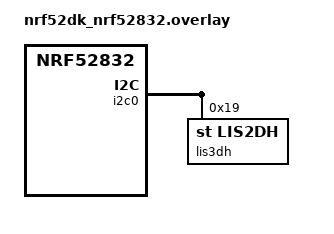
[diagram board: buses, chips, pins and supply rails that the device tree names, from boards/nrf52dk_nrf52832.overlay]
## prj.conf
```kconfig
#
# Copyright (c) 2018 Nordic Semiconductor
#
# SPDX-License-Identifier: LicenseRef-Nordic-5-Clause
#

# Enable the UART driver
CONFIG_UART_ASYNC_API=y
CONFIG_NRFX_UARTE=y
CONFIG_SERIAL=y

CONFIG_GPIO=y

# Make sure printk is printing to the UART console
CONFIG_CONSOLE=y
CONFIG_UART_CONSOLE=y

CONFIG_HEAP_MEM_POOL_SIZE=2048

CONFIG_BT=y
CONFIG_BT_PERIPHERAL=y
CONFIG_BT_DEVICE_NAME="Nordic_UART_Lihua"
CONFIG_BT_MAX_CONN=1
CONFIG_BT_MAX_PAIRED=1

# Enable the NUS service
CONFIG_BT_NUS=y

# Enable bonding
CONFIG_BT_SETTINGS=y
CONFIG_FLASH=y
CONFIG_FLASH_PAGE_LAYOUT=y
CONFIG_FLASH_MAP=y

# Enable DK LED and Buttons library
CONFIG_DK_LIBRARY=y

CONFIG_SYSTEM_WORKQUEUE_STACK_SIZE=2048
# Config logger
CONFIG_LOG=y
CONFIG_USE_SEGGER_RTT=y
CONFIG_LOG_BACKEND_RTT=y
CONFIG_LOG_BACKEND_UART=n
CONFIG_LOG_PRINTK=n

CONFIG_ASSERT=y

#Enable I2C and LIS2DH sensor
CONFIG_I2C=y
CONFIG_SENSOR=y
CONFIG_LIS2DH=y
#CONFIG_LIS2DH_ODR_1=y
CONFIG_LIS2DH_ODR_RUNTIME=y

# Time resolution set to 1ms
CONFIG_SYS_CLOCK_TICKS_PER_SEC=1000

# get 247-byte MTU (244 bytes usable payload)
CONFIG_BT_L2CAP_TX_MTU=247
CONFIG_BT_BUF_ACL_RX_SIZE=251
CONFIG_BT_BUF_ACL_TX_SIZE=251
CONFIG_BT_CTLR_DATA_LENGTH_MAX=251

# DLE (Data Length Extension) for nRF52832
CONFIG_BT_CTLR_DATA_LENGTH_MAX=251
```

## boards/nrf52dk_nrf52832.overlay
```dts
&i2c0 {
    status = "okay";
    pinctrl-0 = <&i2c0_default>;
    pinctrl-1 = <&i2c0_sleep>;
    pinctrl-names = "default", "sleep";

    lis3dh: lis3dh@19 {
        compatible = "st,lis2dh";
        reg = <0x19>;
        status = "okay";
    };
};

&i2c0_default {
    group1 {
        psels = <NRF_PSEL(TWIM_SDA, 0, 27)>,
                <NRF_PSEL(TWIM_SCL, 0, 26)>;
    };
};

&i2c0_sleep {
    group1 {
        psels = <NRF_PSEL(TWIM_SDA, 0, 27)>,
                <NRF_PSEL(TWIM_SCL, 0, 26)>;
        low-power-enable;
    };
};
```

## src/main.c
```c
/*
 * Copyright (c) 2018 Nordic Semiconductor ASA
 * SPDX-License-Identifier: LicenseRef-Nordic-5-Clause
 */

#include <uart_async_adapter.h>

#include <zephyr/types.h>
#include <zephyr/kernel.h>
#include <zephyr/drivers/uart.h>
#include <zephyr/drivers/i2c.h>
#include <zephyr/device.h>
#include <zephyr/devicetree.h>
#include <soc.h>

#include <zephyr/bluetooth/bluetooth.h>
#include <zephyr/bluetooth/uuid.h>
#include <zephyr/bluetooth/gatt.h>
#include <zephyr/bluetooth/hci.h>

#include <bluetooth/services/nus.h>
#include <dk_buttons_and_leds.h>
#include <zephyr/settings/settings.h>

#include <stdio.h>
#include <string.h>
#include <stdlib.h>

#include <zephyr/logging/log.h>

/* LIS3DH via Zephyr sensor API */
#include <zephyr/drivers/sensor.h>

#define LOG_MODULE_NAME peripheral_uart
LOG_MODULE_REGISTER(LOG_MODULE_NAME);

#define STACKSIZE CONFIG_BT_NUS_THREAD_STACK_SIZE
#define PRIORITY 7

#define DEVICE_NAME CONFIG_BT_DEVICE_NAME
#define DEVICE_NAME_LEN (sizeof(DEVICE_NAME) - 1)

#define RUN_STATUS_LED DK_LED1
#define RUN_LED_BLINK_INTERVAL 1000
#define CON_STATUS_LED DK_LED2

#define KEY_PASSKEY_ACCEPT DK_BTN1_MSK
#define KEY_PASSKEY_REJECT DK_BTN2_MSK

#define UART_BUF_SIZE CONFIG_BT_NUS_UART_BUFFER_SIZE
#define UART_WAIT_FOR_BUF_DELAY K_MSEC(50)
#define UART_WAIT_FOR_RX CONFIG_BT_NUS_UART_RX_WAIT_TIME

#define ACCEL_SAMPLE_RATE_HZ 100
#define ACCEL_INTERVAL_MS (1000 / ACCEL_SAMPLE_RATE_HZ) 

#define SAMPLES_PER_PACKET 20  // 5 header + 20×6 = 125 bytes — safe under 244
#define LIS3DH_ADDR 0x19  // change to 0x18 if SA0 pin is low
#define LIS3DH_CTRL_REG2 0x21

typedef struct {
    int16_t x;
    int16_t y;
    int16_t z;
} __attribute__((packed)) accel_sample_t;

/* compile-time check — will error if packet exceeds BLE payload */
BUILD_ASSERT((5 + SAMPLES_PER_PACKET * sizeof(accel_sample_t)) <= 244,
             "Packet too large for BLE MTU");

// Static buffer holding pending samples
static accel_sample_t sample_buf[SAMPLES_PER_PACKET];
static uint8_t sample_count = 0;
static uint8_t pkt_seq = 0; 

K_SEM_DEFINE(accel_sem, 0, 1);  // initial=0, max=1
K_SEM_DEFINE(ble_init_ok, 0, 1); 

static struct bt_conn *current_conn;
static struct bt_conn *auth_conn;
static struct k_work adv_work;
static struct k_timer accel_timer;
//static struct k_sem accel_sem;

/* LIS3DH device handle */
const struct device *const accel_dev = DEVICE_DT_GET_ANY(st_lis2dh);

#if DT_HAS_CHOSEN(nordic_nus_uart)
#define NUS_UART_NODE DT_CHOSEN(nordic_nus_uart)
#elif DT_HAS_CHOSEN(zephyr_shell_uart)
#define NUS_UART_NODE DT_CHOSEN(zephyr_shell_uart)
#else
#error "No NUS UART: add chosen 'nordic,nus-uart' to devicetree."
#endif

static const struct device *uart = DEVICE_DT_GET(NUS_UART_NODE);
static struct k_work_delayable uart_work;

struct uart_data_t {
	void *fifo_reserved;
	uint8_t data[UART_BUF_SIZE];
	uint16_t len;
};

static K_FIFO_DEFINE(fifo_uart_tx_data);
static K_FIFO_DEFINE(fifo_uart_rx_data);

static const struct bt_data ad[] = {
	BT_DATA_BYTES(BT_DATA_FLAGS, (BT_LE_AD_GENERAL | BT_LE_AD_NO_BREDR)),
	BT_DATA(BT_DATA_NAME_COMPLETE, DEVICE_NAME, DEVICE_NAME_LEN),
};

static const struct bt_data sd[] = {
	BT_DATA_BYTES(BT_DATA_UUID128_ALL, BT_UUID_NUS_VAL),
};

#ifdef CONFIG_UART_ASYNC_ADAPTER
UART_ASYNC_ADAPTER_INST_DEFINE(async_adapter);
#else
#define async_adapter NULL
#endif

static void accel_timer_expiry(struct k_timer *timer) 
{
	k_sem_give(&accel_sem); // Signal the accelerometer thread to read and send data (Unlocks accel thread which is waiting on this semaphore)
}


/* ────────────────────────────────────────────
 * LIS3DH accelerometer read + BLE transmit
 * SDA = P27, SCL = P26
 * ──────────────────────────────────────────── */

/* ── REPLACED: now buffers samples and sends in binary bursts ── */
static inline int16_t sv_to_i16(struct sensor_value *v)
{
    /* Converts sensor_value to int16 in units of 0.01 m/s²
     * val1 = whole m/s², val2 = millionths of m/s² */
    return (int16_t)(v->val1 * 100 + v->val2 / 10000);
}

static void send_accel_over_ble(void)
{

	static uint32_t fetch_fail_count = 0; 
	
    if (!device_is_ready(accel_dev)) {
        LOG_ERR("Accel device NOT ready");
        return;
    }

    if (!current_conn) {
        return;
    }

    struct sensor_value accel[3];

    if (sensor_sample_fetch(accel_dev) ||
        sensor_channel_get(accel_dev, SENSOR_CHAN_ACCEL_XYZ, accel)) {
        fetch_fail_count++;
        LOG_WRN("Accel read failed (%u times so far)", fetch_fail_count);
        return;
    }

    /* Append sample to buffer */
    sample_buf[sample_count].x = sv_to_i16(&accel[0]);
    sample_buf[sample_count].y = sv_to_i16(&accel[1]);
    sample_buf[sample_count].z = sv_to_i16(&accel[2]);
    sample_count++;

    /* Only transmit when buffer is full */
    if (sample_count >= SAMPLES_PER_PACKET) {

        /* Packet layout: [0xAC][count][interval_lo][interval_hi][...samples...] */
        uint8_t pkt[5 + SAMPLES_PER_PACKET * sizeof(accel_sample_t)];
        pkt[0] = 0xAC;
        pkt[1] = pkt_seq++;
		pkt[2] = SAMPLES_PER_PACKET;
        pkt[3] = ACCEL_INTERVAL_MS & 0xFF;
        pkt[4] = (ACCEL_INTERVAL_MS >> 8) & 0xFF;
        memcpy(&pkt[5], sample_buf, sizeof(sample_buf));

		LOG_INF("TX seq=%d: %d samples @ %dms", pkt[1], SAMPLES_PER_PACKET, ACCEL_INTERVAL_MS);
		for (int i = 0; i< SAMPLES_PER_PACKET; i++) {
			//int whole = sample_buf[i].z / 100;
			//int frac = abs(sample_buf[i].z % 100);
			//LOG_INF("  [%3d] %s%d.%02d", i, (sample_buf[i].z < 0 && whole == 0) ? "-" : "", whole, frac);
		}

        int err = bt_nus_send(NULL, pkt, sizeof(pkt));
        if (err) {
            LOG_WRN("BLE send failed: %d", err);
        } else {
            //LOG_INF("Sent %d samples (%d bytes)", SAMPLES_PER_PACKET, (int)sizeof(pkt));
        }

        sample_count = 0;   /* reset buffer */
    }
}
/* ─────────────────────────────────────────────────── */

static void lis3dh_check_odr(void)
{
    const struct device *i2c_dev =
        DEVICE_DT_GET(DT_BUS(DT_COMPAT_GET_ANY_STATUS_OKAY(st_lis2dh)));

    if (!device_is_ready(i2c_dev)) {
        LOG_ERR("I2C bus not ready for ODR check");
        return;
    }

    uint8_t reg = 0x20; // CTRL_REG1
    uint8_t val = 0;
    int err = i2c_write_read(i2c_dev, LIS3DH_ADDR, &reg, 1, &val, 1);
    if (err) {
        LOG_ERR("Failed to read CTRL_REG1: %d", err);
        return;
    }

    uint8_t odr_bits = (val >> 4) & 0x0F;
    static const int odr_table[] = {
        0, 1, 10, 25, 50, 100, 200, 400, 1620, 1344 /* or 5376 in LP mode */
    };
    int odr_hz = (odr_bits < ARRAY_SIZE(odr_table)) ? odr_table[odr_bits] : -1;

    LOG_INF("CTRL_REG1=0x%02X, ODR bits=0x%X -> %d Hz", val, odr_bits, odr_hz);
}

/* ── NEW: enable LIS3DH hardware high-pass filter (gravity cancellation) ── */
static int lis3dh_enable_hpf(void)
{
    const struct device *i2c_dev =
        DEVICE_DT_GET(DT_BUS(DT_COMPAT_GET_ANY_STATUS_OKAY(st_lis2dh)));

    if (!device_is_ready(i2c_dev)) {
        LOG_ERR("I2C bus not ready for HPF config");
        return -ENODEV;
    }

    /* CTRL_REG2 = 0x08
     * FDS=1  (bit3) — route HPF output to data registers
     * HPM=00        — normal mode
     * HPCF=00       — highest cutoff (~2Hz at 100Hz ODR), removes DC gravity */
    uint8_t buf[2] = { LIS3DH_CTRL_REG2, 0x08 };
    int err = i2c_write(i2c_dev, buf, sizeof(buf), LIS3DH_ADDR);
    if (err) {
        LOG_ERR("Failed to write CTRL_REG2: %d", err);
        return err;
    }

    LOG_INF("LIS3DH HPF enabled — gravity cancelled");
    return 0;
}
/* ──────────────────────────────────────────────────────────────────────── */

/* Accelerometer thread */
static void accel_thread_fn(void)
{
	k_sem_take(&ble_init_ok, K_FOREVER);
	k_sem_give(&ble_init_ok);
	k_timer_init(&accel_timer, accel_timer_expiry, NULL);
	//k_timer_start(&accel_timer, K_MSEC(ACCEL_INTERVAL_MS), K_MSEC(ACCEL_INTERVAL_MS));

	while (1) {
		k_sem_take(&accel_sem, K_FOREVER);
		send_accel_over_ble();
	}
}

#define ACCEL_THREAD_STACK_SIZE 1024
#define ACCEL_THREAD_PRIORITY   8

K_THREAD_DEFINE(accel_thread_id,
		ACCEL_THREAD_STACK_SIZE,
		accel_thread_fn,
		NULL, NULL, NULL,
		ACCEL_THREAD_PRIORITY, 0, 0);

/* ────────────────────────────────────────────
 * UART callbacks — unchanged
 * ──────────────────────────────────────────── */

static void uart_cb(const struct device *dev, struct uart_event *evt, void *user_data)
{
	ARG_UNUSED(dev);

	static size_t aborted_len;
	struct uart_data_t *buf;
	static uint8_t *aborted_buf;
	static bool disable_req;

	switch (evt->type) {
	case UART_TX_DONE:
		LOG_DBG("UART_TX_DONE");
		if ((evt->data.tx.len == 0) || (!evt->data.tx.buf)) {
			return;
		}
		if (aborted_buf) {
			buf = CONTAINER_OF(aborted_buf, struct uart_data_t, data[0]);
			aborted_buf = NULL;
			aborted_len = 0;
		} else {
			buf = CONTAINER_OF(evt->data.tx.buf, struct uart_data_t, data[0]);
		}
		k_free(buf);
		buf = k_fifo_get(&fifo_uart_tx_data, K_NO_WAIT);
		if (!buf) {
			return;
		}
		if (uart_tx(uart, buf->data, buf->len, SYS_FOREVER_MS)) {
			LOG_WRN("Failed to send data over UART");
		}
		break;

	case UART_RX_RDY:
		LOG_DBG("UART_RX_RDY");
		buf = CONTAINER_OF(evt->data.rx.buf, struct uart_data_t, data[0]);
		buf->len += evt->data.rx.len;
		if (disable_req) {
			return;
		}
		if ((evt->data.rx.buf[buf->len - 1] == '\n') ||
		    (evt->data.rx.buf[buf->len - 1] == '\r')) {
			disable_req = true;
			uart_rx_disable(uart);
		}
		break;

	case UART_RX_DISABLED:
		LOG_DBG("UART_RX_DISABLED");
		disable_req = false;
		buf = k_malloc(sizeof(*buf));
		if (buf) {
			buf->len = 0;
		} else {
			LOG_WRN("Not able to allocate UART receive buffer");
			k_work_reschedule(&uart_work, UART_WAIT_FOR_BUF_DELAY);
			return;
		}
		uart_rx_enable(uart, buf->data, sizeof(buf->data), UART_WAIT_FOR_RX);
		break;

	case UART_RX_BUF_REQUEST:
		LOG_DBG("UART_RX_BUF_REQUEST");
		buf = k_malloc(sizeof(*buf));
		if (buf) {
			buf->len = 0;
			uart_rx_buf_rsp(uart, buf->data, sizeof(buf->data));
		} else {
			LOG_WRN("Not able to allocate UART receive buffer");
		}
		break;

	case UART_RX_BUF_RELEASED:
		LOG_DBG("UART_RX_BUF_RELEASED");
		buf = CONTAINER_OF(evt->data.rx_buf.buf, struct uart_data_t, data[0]);
		if (buf->len > 0) {
			k_fifo_put(&fifo_uart_rx_data, buf);
		} else {
			k_free(buf);
		}
		break;

	case UART_TX_ABORTED:
		LOG_DBG("UART_TX_ABORTED");
		if (!aborted_buf) {
			aborted_buf = (uint8_t *)evt->data.tx.buf;
		}
		aborted_len += evt->data.tx.len;
		buf = CONTAINER_OF((void *)aborted_buf, struct uart_data_t, data);
		uart_tx(uart, &buf->data[aborted_len], buf->len - aborted_len, SYS_FOREVER_MS);
		break;

	default:
		break;
	}
}

static void uart_work_handler(struct k_work *item)
{
	struct uart_data_t *buf;
	buf = k_malloc(sizeof(*buf));
	if (buf) {
		buf->len = 0;
	} else {
		LOG_WRN("Not able to allocate UART receive buffer");
		k_work_reschedule(&uart_work, UART_WAIT_FOR_BUF_DELAY);
		return;
	}
	uart_rx_enable(uart, buf->data, sizeof(buf->data), UART_WAIT_FOR_RX);
}

static bool uart_test_async_api(const struct device *dev)
{
	const struct uart_driver_api *api =
		(const struct uart_driver_api *)dev->api;
	return (api->callback_set != NULL);
}

static int uart_init(void)
{
	int err;
	int pos;
	struct uart_data_t *rx;
	struct uart_data_t *tx;

	if (!device_is_ready(uart)) {
		return -ENODEV;
	}

	rx = k_malloc(sizeof(*rx));
	if (rx) {
		rx->len = 0;
	} else {
		return -ENOMEM;
	}

	k_work_init_delayable(&uart_work, uart_work_handler);

	if (IS_ENABLED(CONFIG_UART_ASYNC_ADAPTER) && !uart_test_async_api(uart)) {
		uart_async_adapter_init(async_adapter, uart);
		uart = async_adapter;
	}

	err = uart_callback_set(uart, uart_cb, NULL);
	if (err) {
		k_free(rx);
		LOG_ERR("Cannot initialize UART callback");
		return err;
	}

	if (IS_ENABLED(CONFIG_UART_LINE_CTRL)) {
		LOG_INF("Wait for DTR");
		while (true) {
			uint32_t dtr = 0;
			uart_line_ctrl_get(uart, UART_LINE_CTRL_DTR, &dtr);
			if (dtr) break;
			k_sleep(K_MSEC(100));
		}
		LOG_INF("DTR set");
		err = uart_line_ctrl_set(uart, UART_LINE_CTRL_DCD, 1);
		if (err) LOG_WRN("Failed to set DCD,xret code %d", err);
		err = uart_line_ctrl_set(uart, UART_LINE_CTRL_DSR, 1);
		if (err) LOG_WRN("Failed to set DSR, ret code %d", err);
	}

	tx = k_malloc(sizeof(*tx));
	if (tx) {
		pos = snprintf(tx->data, sizeof(tx->data),
			       "Starting Nordic UART service sample\r\n");
		if ((pos < 0) || (pos >= sizeof(tx->data))) {
			k_free(rx);
			k_free(tx);
			LOG_ERR("snprintf returned %d", pos);
			return -ENOMEM;
		}
		tx->len = pos;
	} else {
		k_free(rx);
		return -ENOMEM;
	}

	err = uart_tx(uart, tx->data, tx->len, SYS_FOREVER_MS);
	if (err) {
		k_free(rx);
		k_free(tx);
		LOG_ERR("Cannot display welcome message (err: %d)", err);
		return err;
	}

	err = uart_rx_enable(uart, rx->data, sizeof(rx->data), UART_WAIT_FOR_RX);
	if (err) {
		LOG_ERR("Cannot enable uart reception (err: %d)", err);
		k_free(rx);
	}

	return err;
}

/* ────────────────────────────────────────────
 * BLE callbacks 
 * ──────────────────────────────────────────── */

static void adv_work_handler(struct k_work *work)
{
	int err = bt_le_adv_start(BT_LE_ADV_CONN_FAST_2, ad, ARRAY_SIZE(ad), sd, ARRAY_SIZE(sd));
	if (err) {
		LOG_ERR("Advertising failed to start (err %d)", err);
		return;
	}
	LOG_INF("Advertising successfully started");
}

static void advertising_start(void)
{
	k_work_submit(&adv_work);
}

static void connected(struct bt_conn *conn, uint8_t err)
{
    char addr[BT_ADDR_LE_STR_LEN];

    // 1. Check error FIRST
    if (err) {
        LOG_ERR("Connection failed, err 0x%02x %s", err, bt_hci_err_to_str(err));
        return;
    }

    bt_addr_le_to_str(bt_conn_get_dst(conn), addr, sizeof(addr));
    LOG_INF("Connected %s", addr);
    current_conn = bt_conn_ref(conn);
    dk_set_led_on(CON_STATUS_LED);
	
	struct bt_conn_info info;
	bt_conn_get_info(conn, &info);
	LOG_INF("Initial interval: %d units = %d ms",
        info.le.interval,
        info.le.interval * 125 / 100);

    // 3. Request tighter interval AFTER confirming connection is valid
    // struct bt_le_conn_param param = {
    //     .interval_min = 6,    // 7.5ms
    //     .interval_max = 6,
    //     .latency      = 0,
    //     .timeout      = 4000,  // 4 second supervision timeout
    // };
	// 3. connection interval AFTER confirming connection is valid
	struct bt_le_conn_param param = {
    .interval_min = ACCEL_INTERVAL_MS * SAMPLES_PER_PACKET/2.5,  
    .interval_max = ACCEL_INTERVAL_MS * SAMPLES_PER_PACKET/2.5,
    .latency      = 0,
    .timeout      = 400,
};

    int ret = bt_conn_le_param_update(conn, &param);
    if (ret) {
        LOG_WRN("Failed to request conn param update: %d", ret);
    } else {
        LOG_INF("Conn param update requested (%d interval)", ACCEL_INTERVAL_MS * SAMPLES_PER_PACKET/2);
    }
	k_timer_start(&accel_timer, K_MSEC(500), K_MSEC(ACCEL_INTERVAL_MS)); 
}

static void disconnected(struct bt_conn *conn, uint8_t reason)
{
	k_timer_stop(&accel_timer);

	char addr[BT_ADDR_LE_STR_LEN];
	bt_addr_le_to_str(bt_conn_get_dst(conn), addr, sizeof(addr));
	LOG_INF("Disconnected: %s, reason 0x%02x %s", addr, reason, bt_hci_err_to_str(reason));
	if (auth_conn) {
		bt_conn_unref(auth_conn);
		auth_conn = NULL;
	}
	if (current_conn) {
		bt_conn_unref(current_conn);
		current_conn = NULL;
		dk_set_led_off(CON_STATUS_LED);
	}
}

static void recycled_cb(void)
{
	LOG_INF("Connection object available from previous conn. Disconnect is complete!");
	advertising_start();
}

#ifdef CONFIG_BT_NUS_SECURITY_ENABLED
static void security_changed(struct bt_conn *conn, bt_security_t level,
			     enum bt_security_err err)
{
	char addr[BT_ADDR_LE_STR_LEN];
	bt_addr_le_to_str(bt_conn_get_dst(conn), addr, sizeof(addr));
	if (!err) {
		LOG_INF("Security changed: %s level %u", addr, level);
	} else {
		LOG_WRN("Security failed: %s level %u err %d %s", addr, level, err,
			bt_security_err_to_str(err));
	}
}
#endif

static void le_param_updated(struct bt_conn *conn, uint16_t interval,
                              uint16_t latency, uint16_t timeout)
{
    LOG_INF("Conn params updated — interval: %d units (%d ms), latency: %d, timeout: %d ms",
            interval,
            interval * 125 / 100,
            latency,
            timeout * 10);
}

BT_CONN_CB_DEFINE(conn_callbacks) = {
	.connected    = connected,
	.disconnected = disconnected,
	.recycled     = recycled_cb,
	.le_param_updated = le_param_updated,
#ifdef CONFIG_BT_NUS_SECURITY_ENABLED
	.security_changed = security_changed,
#endif
};

#if defined(CONFIG_BT_NUS_SECURITY_ENABLED)
static void auth_passkey_display(struct bt_conn *conn, unsigned int passkey)
{
	char addr[BT_ADDR_LE_STR_LEN];
	bt_addr_le_to_str(bt_conn_get_dst(conn), addr, sizeof(addr));
	LOG_INF("Passkey for %s: %06u", addr, passkey);
}

static void auth_passkey_confirm(struct bt_conn *conn, unsigned int passkey)
{
	char addr[BT_ADDR_LE_STR_LEN];
	auth_conn = bt_conn_ref(conn);
	bt_addr_le_to_str(bt_conn_get_dst(conn), addr, sizeof(addr));
	LOG_INF("Passkey for %s: %06u", addr, passkey);
	if (IS_ENABLED(CONFIG_SOC_SERIES_NRF54H) || IS_ENABLED(CONFIG_SOC_SERIES_NRF54L)) {
		LOG_INF("Press Button 0 to confirm, Button 1 to reject.");
	} else {
		LOG_INF("Press Button 1 to confirm, Button 2 to reject.");
	}
}

static void auth_cancel(struct bt_conn *conn)
{
	char addr[BT_ADDR_LE_STR_LEN];
	bt_addr_le_to_str(bt_conn_get_dst(conn), addr, sizeof(addr));
	LOG_INF("Pairing cancelled: %s", addr);
}

static void pairing_complete(struct bt_conn *conn, bool bonded)
{
	char addr[BT_ADDR_LE_STR_LEN];
	bt_addr_le_to_str(bt_conn_get_dst(conn), addr, sizeof(addr));
	LOG_INF("Pairing completed: %s, bonded: %d", addr, bonded);
}

static void pairing_failed(struct bt_conn *conn, enum bt_security_err reason)
{
	char addr[BT_ADDR_LE_STR_LEN];
	bt_addr_le_to_str(bt_conn_get_dst(conn), addr, sizeof(addr));
	LOG_INF("Pairing failed conn: %s, reason %d %s", addr, reason,
		bt_security_err_to_str(reason));
}

static struct bt_conn_auth_cb conn_auth_callbacks = {
	.passkey_display = auth_passkey_display,
	.passkey_confirm = auth_passkey_confirm,
	.cancel          = auth_cancel,
};

static struct bt_conn_auth_info_cb conn_auth_info_callbacks = {
	.pairing_complete = pairing_complete,
	.pairing_failed   = pairing_failed,
};
#else
static struct bt_conn_auth_cb conn_auth_callbacks;
static struct bt_conn_auth_info_cb conn_auth_info_callbacks;
#endif

static void bt_receive_cb(struct bt_conn *conn, const uint8_t *const data, uint16_t len)
{
	int err;
	char addr[BT_ADDR_LE_STR_LEN] = {0};
	bt_addr_le_to_str(bt_conn_get_dst(conn), addr, ARRAY_SIZE(addr));
	LOG_INF("Received data from: %s", addr);

	for (uint16_t pos = 0; pos != len;) {
		struct uart_data_t *tx = k_malloc(sizeof(*tx));
		if (!tx) {
			LOG_WRN("Not able to allocate UART send data buffer");
			return;
		}
		size_t tx_data_size = sizeof(tx->data) - 1;
		if ((len - pos) > tx_data_size) {
			tx->len = tx_data_size;
		} else {
			tx->len = (len - pos);
		}
		memcpy(tx->data, &data[pos], tx->len);
		pos += tx->len;
		if ((pos == len) && (data[len - 1] == '\r')) {
			tx->data[tx->len] = '\n';
			tx->len++;
		}
		err = uart_tx(uart, tx->data, tx->len, SYS_FOREVER_MS);
		if (err) {
			k_fifo_put(&fifo_uart_tx_data, tx);
		}
	}
}

static struct bt_nus_cb nus_cb = {
	.received = bt_receive_cb,
};

static void att_mtu_updated(struct bt_conn *conn, uint16_t tx, uint16_t rx)
{
	LOG_INF("ATT MTU updated: TX=%d RX=%d bytes", tx, rx);
}

static struct bt_gatt_cb gatt_callbacks = {
	.att_mtu_updated = att_mtu_updated,
};

void error(void)
{
	dk_set_leds_state(DK_ALL_LEDS_MSK, DK_NO_LEDS_MSK);
	while (true) {
		k_sleep(K_MSEC(1000));
	}
}

#ifdef CONFIG_BT_NUS_SECURITY_ENABLED
static void num_comp_reply(bool accept)
{
	if (accept) {
		bt_conn_auth_passkey_confirm(auth_conn);
		LOG_INF("Numeric Match, conn %p", (void *)auth_conn);
	} else {
		bt_conn_auth_cancel(auth_conn);
		LOG_INF("Numeric Reject, conn %p", (void *)auth_conn);
	}
	bt_conn_unref(auth_conn);
	auth_conn = NULL;
}

void button_changed(uint32_t button_state, uint32_t has_changed)
{
	uint32_t buttons = button_state & has_changed;
	if (auth_conn) {
		if (buttons & KEY_PASSKEY_ACCEPT) num_comp_reply(true);
		if (buttons & KEY_PASSKEY_REJECT) num_comp_reply(false);
	}
}
#endif

static void configure_gpio(void)
{
	int err;
#ifdef CONFIG_BT_NUS_SECURITY_ENABLED
	err = dk_buttons_init(button_changed);
	if (err) LOG_ERR("Cannot init buttons (err: %d)", err);
#endif
	err = dk_leds_init();
	if (err) LOG_ERR("Cannot init LEDs (err: %d)", err);
}

/* ────────────────────────────────────────────
 * Main
 * ──────────────────────────────────────────── */

int main(void)
{
	int blink_status = 0;
	int err = 0;

	configure_gpio(); // configures LEDs and buttons

	/* Init LIS3DH */
	if (!device_is_ready(accel_dev)) {
    	LOG_ERR("LIS3DH not ready — check wiring/overlay");
		printk("System booted\n");
    	//accel_dev = NULL;
	} else {
    	LOG_INF("LIS3DH ready");
		/* Set ODR to target Hz */
    	struct sensor_value odr = { .val1 = ACCEL_SAMPLE_RATE_HZ, .val2 = 0 };
    	int err2 = sensor_attr_set(accel_dev, SENSOR_CHAN_ACCEL_XYZ,
                               SENSOR_ATTR_SAMPLING_FREQUENCY, &odr);
    	if (err2) {
        	LOG_ERR("Failed to set ODR: %d", err2);
    	} else {
        	LOG_INF("ODR set to %d Hz", ACCEL_SAMPLE_RATE_HZ);
    	}
		//lis3dh_enable_hpf();
		lis3dh_check_odr(); 
	}

	err = uart_init();
	if (err) {
		error();
	}

	if (IS_ENABLED(CONFIG_BT_NUS_SECURITY_ENABLED)) {
		err = bt_conn_auth_cb_register(&conn_auth_callbacks);
		if (err) {
			LOG_ERR("Failed to register authorization callbacks (err: %d)", err);
			return 0;
		}
		err = bt_conn_auth_info_cb_register(&conn_auth_info_callbacks);
		if (err) {
			LOG_ERR("Failed to register authorization info callbacks (err: %d)", err);
			return 0;
		}
	}

	err = bt_enable(NULL);
	if (err) {
		error();
	}

	LOG_INF("Bluetooth initialized");
	k_sem_give(&ble_init_ok);

	if (IS_ENABLED(CONFIG_SETTINGS)) {
		settings_load();
	}

	err = bt_nus_init(&nus_cb);
	if (err) {
		LOG_ERR("Failed to initialize UART service (err: %d)", err);
		return 0;
	}

	k_work_init(&adv_work, adv_work_handler);
	bt_gatt_cb_register(&gatt_callbacks);
	advertising_start();

	for (;;) {
		dk_set_led(RUN_STATUS_LED, (++blink_status) % 2);
		k_sleep(K_MSEC(RUN_LED_BLINK_INTERVAL));
	}
}

/* ────────────────────────────────────────────
 * BLE write thread — unchanged
 * ──────────────────────────────────────────── */

void ble_write_thread(void)
{
	k_sem_take(&ble_init_ok, K_FOREVER);
	k_sem_give(&ble_init_ok);

	struct uart_data_t nus_data = { .len = 0 };

	for (;;) {
		struct uart_data_t *buf = k_fifo_get(&fifo_uart_rx_data, K_FOREVER);

		int plen = MIN(sizeof(nus_data.data) - nus_data.len, buf->len);
		int loc = 0;

		while (plen > 0) {
			memcpy(&nus_data.data[nus_data.len], &buf->data[loc], plen);
			nus_data.len += plen;
			loc += plen;

			if (nus_data.len >= sizeof(nus_data.data) ||
			    (nus_data.data[nus_data.len - 1] == '\n') ||
			    (nus_data.data[nus_data.len - 1] == '\r')) {
				if (bt_nus_send(NULL, nus_data.data, nus_data.len)) {
					LOG_WRN("Failed to send data over BLE connection");
				}
				nus_data.len = 0;
			}
			plen = MIN(sizeof(nus_data.data), buf->len - loc);
		}
		k_free(buf);
	}
}

K_THREAD_DEFINE(ble_write_thread_id, STACKSIZE, ble_write_thread, NULL, NULL,
		NULL, PRIORITY, 0, 0);
```
